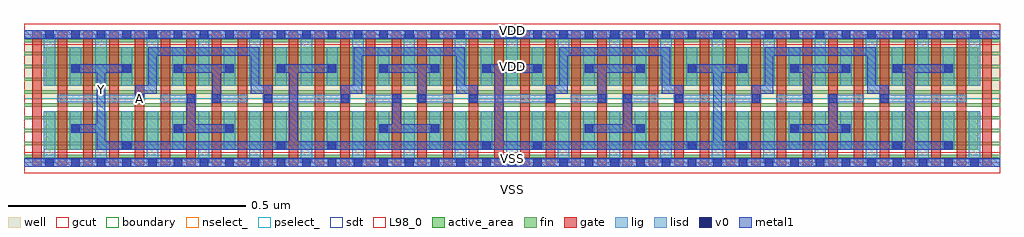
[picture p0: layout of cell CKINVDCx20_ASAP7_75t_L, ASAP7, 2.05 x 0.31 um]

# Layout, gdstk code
import gdstk
lib = gdstk.Library(unit=1e-6, precision=2.5e-10)
def R(c, l, rs):  # rectangles x0, y0, x1, y1
    for r in rs: c.add(gdstk.rectangle(r[:2], r[2:], *l))
def A(c, l, x, y, w, h, nx, ny, dx, dy):  # array of equal rectangles
    R(c, l, [(x+i*dx, y+j*dy, x+i*dx+w, y+j*dy+h) for i in range(nx) for j in range(ny)])
def P(c, l, *ps):  # polygons
    for p in ps: c.add(gdstk.Polygon(p, *l))
well = (1, 0)
fin = (2, 0)
gate = (7, 0)
gcut = (10, 0)
active_area = (11, 0)
nselect_ = (12, 0)
pselect_ = (13, 0)
lig = (16, 0)
lisd = (17, 0)
v0 = (18, 0)
metal1 = (19, 0)
sdt = (88, 0)
L98_0 = (98, 0)
boundary = (100, 0)

ckinvdcx20_asap7_75t_l = lib.new_cell('CKINVDCx20_ASAP7_75t_L')
R(ckinvdcx20_asap7_75t_l, well, [(0,0.135,2.052,0.27)])
A(ckinvdcx20_asap7_75t_l, fin, 0, 0.01, 2.052, 0.007, 1, 10, 0, 0.027)
A(ckinvdcx20_asap7_75t_l, gate, 0.017, -0.005, 0.02, 0.28, 38, 1, 0.054, 0)
R(ckinvdcx20_asap7_75t_l, gcut, [(0,-0.022,2.052,0.022), (0,0.248,2.052,0.292)])
R(ckinvdcx20_asap7_75t_l, active_area, [(0.046,0.027,2.006,0.108), (0.046,0.162,2.006,0.243)])
R(ckinvdcx20_asap7_75t_l, nselect_, [(0,0,2.052,0.135)])
R(ckinvdcx20_asap7_75t_l, pselect_, [(0,0.135,2.052,0.27)])
A(ckinvdcx20_asap7_75t_l, lig, 0.664, 0.126, 0.022, 0.018, 3, 1, 0.108, 0)
A(ckinvdcx20_asap7_75t_l, lig, 0.07, 0.127, 0.184, 0.016, 5, 1, 0.432, 0)
R(ckinvdcx20_asap7_75t_l, lig, [(0,-0.008,2.052,0.008), (0.232,0.126,0.254,0.144), (0.34,0.126,0.362,0.144), (0.394,0.126,0.416,0.144), (1.042,0.126,1.064,0.144), (1.204,0.126,1.226,0.144), (1.258,0.126,1.28,0.144), (1.528,0.126,1.55,0.144), (1.636,0.126,1.658,0.144), (1.69,0.126,1.712,0.144), (1.798,0.126,1.82,0.144), (0.286,0.127,0.362,0.143), (0.394,0.127,0.47,0.143), (0.718,0.127,0.794,0.143), (0.826,0.127,0.902,0.143), (1.15,0.127,1.226,0.143), (1.258,0.127,1.334,0.143), (1.582,0.127,1.658,0.143), (1.69,0.127,1.766,0.143), (0,0.262,2.052,0.278)])
A(ckinvdcx20_asap7_75t_l, lisd, 0.096, 0.027, 0.024, 0.081, 18, 2, 0.108, 0.135)
R(ckinvdcx20_asap7_75t_l, lisd, [(0.042,0,0.066,0.108), (0.042,0,0.066,0.108), (0.15,0,0.174,0.108), (0.15,0,0.174,0.108), (0.258,0,0.282,0.108), (0.258,0,0.282,0.108), (0.366,0,0.39,0.108), (0.366,0,0.39,0.108), (0.474,0,0.498,0.108), (0.474,0,0.498,0.108), (0.582,0,0.606,0.108), (0.582,0,0.606,0.108), (0.69,0,0.714,0.108), (0.69,0,0.714,0.108), (0.798,0,0.822,0.108), (0.798,0,0.822,0.108), (0.906,0,0.93,0.108), (0.906,0,0.93,0.108), (1.014,0,1.038,0.108), (1.014,0,1.038,0.108), (1.122,0,1.146,0.108), (1.122,0,1.146,0.108), (1.23,0,1.254,0.108), (1.23,0,1.254,0.108), (1.338,0,1.362,0.108), (1.338,0,1.362,0.108), (1.446,0,1.47,0.108), (1.446,0,1.47,0.108), (1.554,0,1.578,0.108), (1.554,0,1.578,0.108), (1.662,0,1.686,0.108), (1.662,0,1.686,0.108), (1.77,0,1.794,0.108), (1.77,0,1.794,0.108), (1.878,0,1.902,0.108), (1.878,0,1.902,0.108), (1.986,0,2.01,0.108), (1.986,0,2.01,0.108), (0.042,0.162,0.066,0.27), (0.042,0.162,0.066,0.27), (0.15,0.162,0.174,0.27), (0.15,0.162,0.174,0.27), (0.258,0.162,0.282,0.27), (0.258,0.162,0.282,0.27), (0.366,0.162,0.39,0.27), (0.366,0.162,0.39,0.27), (0.474,0.162,0.498,0.27), (0.474,0.162,0.498,0.27), (0.582,0.162,0.606,0.27), (0.582,0.162,0.606,0.27), (0.69,0.162,0.714,0.27), (0.69,0.162,0.714,0.27), (0.798,0.162,0.822,0.27), (0.798,0.162,0.822,0.27), (0.906,0.162,0.93,0.27), (0.906,0.162,0.93,0.27), (1.014,0.162,1.038,0.27), (1.014,0.162,1.038,0.27), (1.122,0.162,1.146,0.27), (1.122,0.162,1.146,0.27), (1.23,0.162,1.254,0.27), (1.23,0.162,1.254,0.27), (1.338,0.162,1.362,0.27), (1.338,0.162,1.362,0.27), (1.446,0.162,1.47,0.27), (1.446,0.162,1.47,0.27), (1.554,0.162,1.578,0.27), (1.554,0.162,1.578,0.27), (1.662,0.162,1.686,0.27), (1.662,0.162,1.686,0.27), (1.77,0.162,1.794,0.27), (1.77,0.162,1.794,0.27), (1.878,0.162,1.902,0.27), (1.878,0.162,1.902,0.27), (1.986,0.162,2.01,0.27), (1.986,0.162,2.01,0.27)])
A(ckinvdcx20_asap7_75t_l, v0, 0.045, -0.009, 0.018, 0.018, 37, 2, 0.054, 0.27)
A(ckinvdcx20_asap7_75t_l, v0, 0.099, 0.189, 0.018, 0.018, 18, 1, 0.108, 0)
R(ckinvdcx20_asap7_75t_l, v0, [(0.207,0.027,0.225,0.045), (0.531,0.027,0.549,0.045), (0.639,0.027,0.657,0.045), (0.963,0.027,0.981,0.045), (1.071,0.027,1.089,0.045), (1.395,0.027,1.413,0.045), (1.503,0.027,1.521,0.045), (1.827,0.027,1.845,0.045), (1.935,0.027,1.953,0.045), (0.099,0.063,0.117,0.081), (0.315,0.063,0.333,0.081), (0.423,0.063,0.441,0.081), (0.747,0.063,0.765,0.081), (0.855,0.063,0.873,0.081), (1.179,0.063,1.197,0.081), (1.287,0.063,1.305,0.081), (1.611,0.063,1.629,0.081), (1.719,0.063,1.737,0.081), (0.234,0.126,0.252,0.144), (0.342,0.126,0.36,0.144), (0.396,0.126,0.414,0.144), (0.504,0.126,0.522,0.144), (0.666,0.126,0.684,0.144), (0.774,0.126,0.792,0.144), (0.828,0.126,0.846,0.144), (0.936,0.126,0.954,0.144), (1.098,0.126,1.116,0.144), (1.206,0.126,1.224,0.144), (1.26,0.126,1.278,0.144), (1.368,0.126,1.386,0.144), (1.53,0.126,1.548,0.144), (1.638,0.126,1.656,0.144), (1.692,0.126,1.71,0.144), (1.8,0.126,1.818,0.144)])
A(ckinvdcx20_asap7_75t_l, metal1, 0.099, 0.189, 0.018, 0.018, 18, 1, 0.108, 0)
R(ckinvdcx20_asap7_75t_l, metal1, [(0,-0.009,2.052,0.009), (0.207,0.027,0.225,0.045), (0.531,0.027,0.549,0.045), (0.639,0.027,0.657,0.045), (0.963,0.027,0.981,0.045), (1.071,0.027,1.089,0.045), (1.395,0.027,1.413,0.045), (1.503,0.027,1.521,0.045), (1.827,0.027,1.845,0.045), (1.935,0.027,1.953,0.045), (0.099,0.063,0.117,0.081), (0.315,0.063,0.333,0.081), (0.423,0.063,0.441,0.081), (0.747,0.063,0.765,0.081), (0.855,0.063,0.873,0.081), (1.179,0.063,1.197,0.081), (1.287,0.063,1.305,0.081), (1.611,0.063,1.629,0.081), (1.719,0.063,1.737,0.081), (0.234,0.126,0.252,0.144), (0.342,0.126,0.36,0.144), (0.396,0.126,0.414,0.144), (0.504,0.126,0.522,0.144), (0.666,0.126,0.684,0.144), (0.774,0.126,0.792,0.144), (0.828,0.126,0.846,0.144), (0.936,0.126,0.954,0.144), (1.098,0.126,1.116,0.144), (1.206,0.126,1.224,0.144), (1.26,0.126,1.278,0.144), (1.368,0.126,1.386,0.144), (1.53,0.126,1.548,0.144), (1.638,0.126,1.656,0.144), (1.692,0.126,1.71,0.144), (1.8,0.126,1.818,0.144), (0,0.261,2.052,0.279)])
P(ckinvdcx20_asap7_75t_l, metal1, [(1.8,0.126),(1.818,0.126),(1.818,0.163),(1.791,0.163),(1.791,0.243),(1.557,0.243),(1.557,0.163),(1.53,0.163),(1.53,0.126),(1.548,0.126),(1.548,0.145),(1.575,0.145),(1.575,0.225),(1.773,0.225),(1.773,0.145),(1.8,0.145)],
  [(1.116,0.145),(1.143,0.145),(1.143,0.225),(1.341,0.225),(1.341,0.145),(1.368,0.145),(1.368,0.126),(1.386,0.126),(1.386,0.163),(1.359,0.163),(1.359,0.243),(1.125,0.243),(1.125,0.163),(1.098,0.163),(1.098,0.126),(1.116,0.126)],
  [(0.684,0.145),(0.711,0.145),(0.711,0.225),(0.909,0.225),(0.909,0.145),(0.936,0.145),(0.936,0.126),(0.954,0.126),(0.954,0.163),(0.927,0.163),(0.927,0.243),(0.693,0.243),(0.693,0.163),(0.666,0.163),(0.666,0.126),(0.684,0.126)],
  [(0.252,0.145),(0.279,0.145),(0.279,0.225),(0.477,0.225),(0.477,0.145),(0.504,0.145),(0.504,0.126),(0.522,0.126),(0.522,0.163),(0.495,0.163),(0.495,0.243),(0.261,0.243),(0.261,0.163),(0.234,0.163),(0.234,0.126),(0.252,0.126)],
  [(1.953,0.207),(1.827,0.207),(1.827,0.189),(1.854,0.189),(1.854,0.045),(1.467,0.045),(1.467,0.189),(1.521,0.189),(1.521,0.207),(1.395,0.207),(1.395,0.189),(1.449,0.189),(1.449,0.045),(1.008,0.045),(1.008,0.189),(1.089,0.189),(1.089,0.207),(0.963,0.207),(0.963,0.189),(0.99,0.189),(0.99,0.045),(0.576,0.045),(0.576,0.189),(0.657,0.189),(0.657,0.207),(0.531,0.207),(0.531,0.189),(0.558,0.189),(0.558,0.045),(0.171,0.045),(0.171,0.189),(0.225,0.189),(0.225,0.207),(0.099,0.207),(0.099,0.189),(0.153,0.189),(0.153,0.081),(0.099,0.081),(0.099,0.063),(0.153,0.063),(0.153,0.027),(1.953,0.027),(1.953,0.045),(1.872,0.045),(1.872,0.189),(1.953,0.189)],
  [(0.36,0.144),(0.342,0.144),(0.342,0.081),(0.315,0.081),(0.315,0.063),(0.441,0.063),(0.441,0.081),(0.36,0.081)],
  [(0.315,0.189),(0.396,0.189),(0.396,0.126),(0.414,0.126),(0.414,0.189),(0.441,0.189),(0.441,0.207),(0.315,0.207)],
  [(0.792,0.144),(0.774,0.144),(0.774,0.081),(0.747,0.081),(0.747,0.063),(0.873,0.063),(0.873,0.081),(0.792,0.081)],
  [(0.747,0.189),(0.828,0.189),(0.828,0.126),(0.846,0.126),(0.846,0.189),(0.873,0.189),(0.873,0.207),(0.747,0.207)],
  [(1.305,0.207),(1.179,0.207),(1.179,0.189),(1.206,0.189),(1.206,0.126),(1.224,0.126),(1.224,0.189),(1.305,0.189)],
  [(1.305,0.081),(1.278,0.081),(1.278,0.144),(1.26,0.144),(1.26,0.081),(1.179,0.081),(1.179,0.063),(1.305,0.063)],
  [(1.737,0.207),(1.611,0.207),(1.611,0.189),(1.638,0.189),(1.638,0.126),(1.656,0.126),(1.656,0.189),(1.737,0.189)],
  [(1.737,0.081),(1.71,0.081),(1.71,0.144),(1.692,0.144),(1.692,0.081),(1.611,0.081),(1.611,0.063),(1.737,0.063)])
A(ckinvdcx20_asap7_75t_l, sdt, 0.042, 0.027, 0.024, 0.081, 3, 2, 0.054, 0.135)
A(ckinvdcx20_asap7_75t_l, sdt, 0.15, 0.027, 0.024, 0.081, 3, 2, 0.054, 0.135)
A(ckinvdcx20_asap7_75t_l, sdt, 0.258, 0.027, 0.024, 0.081, 3, 2, 0.054, 0.135)
A(ckinvdcx20_asap7_75t_l, sdt, 0.366, 0.027, 0.024, 0.081, 3, 2, 0.054, 0.135)
A(ckinvdcx20_asap7_75t_l, sdt, 0.474, 0.027, 0.024, 0.081, 3, 2, 0.054, 0.135)
A(ckinvdcx20_asap7_75t_l, sdt, 0.582, 0.027, 0.024, 0.081, 3, 2, 0.054, 0.135)
A(ckinvdcx20_asap7_75t_l, sdt, 0.69, 0.027, 0.024, 0.081, 3, 2, 0.054, 0.135)
A(ckinvdcx20_asap7_75t_l, sdt, 0.798, 0.027, 0.024, 0.081, 3, 2, 0.054, 0.135)
A(ckinvdcx20_asap7_75t_l, sdt, 0.906, 0.027, 0.024, 0.081, 3, 2, 0.054, 0.135)
A(ckinvdcx20_asap7_75t_l, sdt, 1.014, 0.027, 0.024, 0.081, 3, 2, 0.054, 0.135)
A(ckinvdcx20_asap7_75t_l, sdt, 1.122, 0.027, 0.024, 0.081, 3, 2, 0.054, 0.135)
A(ckinvdcx20_asap7_75t_l, sdt, 1.23, 0.027, 0.024, 0.081, 3, 2, 0.054, 0.135)
A(ckinvdcx20_asap7_75t_l, sdt, 1.338, 0.027, 0.024, 0.081, 3, 2, 0.054, 0.135)
A(ckinvdcx20_asap7_75t_l, sdt, 1.446, 0.027, 0.024, 0.081, 3, 2, 0.054, 0.135)
A(ckinvdcx20_asap7_75t_l, sdt, 1.554, 0.027, 0.024, 0.081, 3, 2, 0.054, 0.135)
A(ckinvdcx20_asap7_75t_l, sdt, 1.662, 0.027, 0.024, 0.081, 3, 2, 0.054, 0.135)
A(ckinvdcx20_asap7_75t_l, sdt, 1.77, 0.027, 0.024, 0.081, 3, 2, 0.054, 0.135)
A(ckinvdcx20_asap7_75t_l, sdt, 1.878, 0.027, 0.024, 0.081, 3, 2, 0.054, 0.135)
R(ckinvdcx20_asap7_75t_l, sdt, [(0.042,0.027,0.066,0.108), (1.986,0.027,2.01,0.108), (0.042,0.162,0.066,0.243), (1.986,0.162,2.01,0.243)])
R(ckinvdcx20_asap7_75t_l, L98_0, [(0,0,2.052,0.27)])
R(ckinvdcx20_asap7_75t_l, boundary, [(0,0,2.052,0.27)])
ckinvdcx20_asap7_75t_l.add(gdstk.Label('VDD', (1.026,0.2025), layer=1, texttype=251))
ckinvdcx20_asap7_75t_l.add(gdstk.Label('VSS', (1.026,-0.0675), layer=3, texttype=251))
ckinvdcx20_asap7_75t_l.add(gdstk.Label('VSS', (1.026,0.009), layer=19, texttype=251))
ckinvdcx20_asap7_75t_l.add(gdstk.Label('VDD', (1.026,0.279), layer=19, texttype=251))
ckinvdcx20_asap7_75t_l.add(gdstk.Label('A', (0.243,0.135), layer=19, texttype=251))
ckinvdcx20_asap7_75t_l.add(gdstk.Label('Y', (0.162,0.154), layer=19, texttype=251))

lib.write_gds('CKINVDCx20_ASAP7_75t_L.gds')
